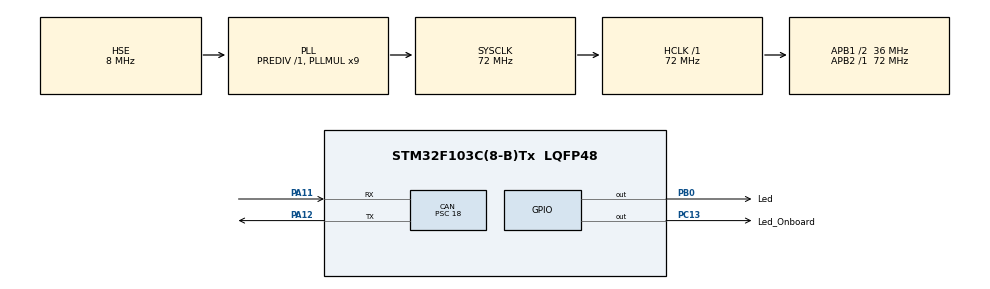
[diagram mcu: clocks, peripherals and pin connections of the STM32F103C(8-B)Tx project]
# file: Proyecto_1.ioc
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CAN.BS1=CAN_BS1_2TQ
CAN.CalculateBaudRate=500000
CAN.CalculateTimeBit=2000
CAN.CalculateTimeQuantum=500.0
CAN.Prescaler=18
Mcu.Family=STM32F1
Mcu.Name=STM32F103C(8-B)Tx
Mcu.Package=LQFP48
NVIC.PriorityGroup=NVIC_PRIORITYGROUP_4
NVIC.TIM2_IRQn=true\:0\:0\:false\:false\:true\:true\:true\:true
NVIC.USB_LP_CAN1_RX0_IRQn=true\:0\:0\:false\:false\:true\:true\:true\:true
PA11.Mode=CAN_Activate
PA11.Signal=CAN_RX
PA12.Mode=CAN_Activate
PA12.Signal=CAN_TX
PA13.Mode=Serial_Wire
PA13.Signal=SYS_JTMS-SWDIO
PA14.Mode=Serial_Wire
PA14.Signal=SYS_JTCK-SWCLK
PB0.GPIO_Label=Led
PB0.Signal=GPIO_Output
PC13-TAMPER-RTC.GPIO_Label=Led_Onboard
PC13-TAMPER-RTC.PinState=GPIO_PIN_SET
PC13-TAMPER-RTC.Signal=GPIO_Output
PD0-OSC_IN.Mode=HSE-External-Oscillator
PD0-OSC_IN.Signal=RCC_OSC_IN
PD1-OSC_OUT.Mode=HSE-External-Oscillator
PD1-OSC_OUT.Signal=RCC_OSC_OUT
ProjectManager.HeapSize=0x200
ProjectManager.StackSize=0x400
ProjectManager.TargetToolchain=STM32CubeIDE
RCC.AHBFreq_Value=72000000
RCC.APB1CLKDivider=RCC_HCLK_DIV2
RCC.APB1Freq_Value=36000000
RCC.APB1TimFreq_Value=72000000
RCC.APB2Freq_Value=72000000
RCC.APB2TimFreq_Value=72000000
RCC.HCLKFreq_Value=72000000
RCC.PLLMUL=RCC_PLL_MUL9
RCC.PLLSourceVirtual=RCC_PLLSOURCE_HSE
RCC.SYSCLKFreq_VALUE=72000000
RCC.SYSCLKSource=RCC_SYSCLKSOURCE_PLLCLK
RCC.USBFreq_Value=72000000
TIM2.Period=999
TIM2.Prescaler=7999
VP_TIM2_VS_ClockSourceINT.Mode=Internal
board=custom

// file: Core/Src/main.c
/* USER CODE BEGIN Header */
/**
  ******************************************************************************
  * @file           : main.c
  * @brief          : Main program body
  ******************************************************************************
  * @attention
  *
  * Copyright (c) 2023 STMicroelectronics.
  * All rights reserved.
  *
  * This software is licensed under terms that can be found in the LICENSE file
  * in the root directory of this software component.
  * If no LICENSE file comes with this software, it is provided AS-IS.
  *
  ******************************************************************************
  */
/* USER CODE END Header */
#include "main.h"
#include "can.h"
#include "tim.h"
#include "gpio.h"

/* USER CODE BEGIN PTD */
CAN_RxHeaderTypeDef rxHeader;
CAN_TxHeaderTypeDef txHeader;

/* USER CODE END PTD */

/* USER CODE BEGIN PD */
#define id_tx 0x10 //MAEXTRO
#define id_rx 0x123 //ESCLAVO
/* USER CODE END PD */

/* USER CODE BEGIN PV */
uint8_t CanTxBuffer[8];
uint8_t CanRxBuffer[8];
uint32_t CanMailBox;
uint8_t flag_rx = 0, flag_tx = 0;
uint8_t counterTime = 5;
uint8_t count = 0;
uint8_t nice = 0;

/* USER CODE END PV */

void SystemClock_Config(void);
/* USER CODE BEGIN PFP */
void SystemClock_Config(void);
void CAN_Filter_Config(void);
void HAL_CAN_RxFifo0MsgPendingCallback(CAN_HandleTypeDef *hcan);
/* USER CODE END PFP */

int main(void)
{

  /* MCU Configuration--------------------------------------------------------*/

  /* Reset of all peripherals, Initializes the Flash interface and the Systick. */
  HAL_Init();

  /* Configure the system clock */
  SystemClock_Config();

  /* Initialize all configured peripherals */
  MX_GPIO_Init();
  MX_CAN_Init();
  MX_TIM2_Init();
  /* USER CODE BEGIN 2 */
	CAN_Filter_Config();
	HAL_CAN_Start(&hcan);
	HAL_CAN_ActivateNotification(&hcan, CAN_IT_RX_FIFO0_MSG_PENDING);
  HAL_TIM_Base_Start_IT(&htim2);

	txHeader.DLC = 2;
    txHeader.IDE = CAN_ID_STD;
    txHeader.RTR = CAN_RTR_DATA;
    txHeader.StdId = id_tx;

    CanTxBuffer[0] = 5;
    CanTxBuffer[1] = 200;
    //HAL_CAN_AddTxMessage(&hcan, &txHeader, CanTxBuffer, &CanMailBox);
    //HAL_CAN_IsTxMessagePending(&hcan, CanMailBox);
  /* USER CODE END 2 */

  /* Infinite loop */
  while (1)
  {

    /* USER CODE BEGIN 3 */
	  if(flag_rx == 1){
		  counterTime = CanRxBuffer[0];
		  nice = CanRxBuffer[1];
		  flag_rx = 0;
		  flag_tx = 1;
	  }
	  if(count == 0){
		  count = counterTime;
		  HAL_GPIO_TogglePin(Led_GPIO_Port, Led_Pin);
		  HAL_GPIO_TogglePin(Led_Onboard_GPIO_Port, Led_Onboard_Pin);
	  }
	  if(nice){
		  txHeader.DLC = 2;
		  txHeader.IDE = CAN_ID_STD;
		  txHeader.RTR = CAN_RTR_DATA;
		  txHeader.StdId = id_tx;

		  CanTxBuffer[0] = counterTime+1;
		  CanTxBuffer[1] = 200;
		  HAL_CAN_AddTxMessage(&hcan, &txHeader, CanTxBuffer, &CanMailBox);
		  HAL_CAN_IsTxMessagePending(&hcan, CanMailBox);
		  flag_tx = 0;
		  //counterTime = 1;
	  }
  }
  /* USER CODE END 3 */
}

void SystemClock_Config(void)
{
  RCC_OscInitTypeDef RCC_OscInitStruct = {0};
  RCC_ClkInitTypeDef RCC_ClkInitStruct = {0};

  /** Initializes the RCC Oscillators according to the specified parameters
  * in the RCC_OscInitTypeDef structure.
  */
  RCC_OscInitStruct.OscillatorType = RCC_OSCILLATORTYPE_HSE;
  RCC_OscInitStruct.HSEState = RCC_HSE_ON;
  RCC_OscInitStruct.HSEPredivValue = RCC_HSE_PREDIV_DIV1;
  RCC_OscInitStruct.HSIState = RCC_HSI_ON;
  RCC_OscInitStruct.PLL.PLLState = RCC_PLL_ON;
  RCC_OscInitStruct.PLL.PLLSource = RCC_PLLSOURCE_HSE;
  RCC_OscInitStruct.PLL.PLLMUL = RCC_PLL_MUL9;
  if (HAL_RCC_OscConfig(&RCC_OscInitStruct) != HAL_OK)
  {
    Error_Handler();
  }

  /** Initializes the CPU, AHB and APB buses clocks
  */
  RCC_ClkInitStruct.ClockType = RCC_CLOCKTYPE_HCLK|RCC_CLOCKTYPE_SYSCLK
                              |RCC_CLOCKTYPE_PCLK1|RCC_CLOCKTYPE_PCLK2;
  RCC_ClkInitStruct.SYSCLKSource = RCC_SYSCLKSOURCE_PLLCLK;
  RCC_ClkInitStruct.AHBCLKDivider = RCC_SYSCLK_DIV1;
  RCC_ClkInitStruct.APB1CLKDivider = RCC_HCLK_DIV2;
  RCC_ClkInitStruct.APB2CLKDivider = RCC_HCLK_DIV1;

  if (HAL_RCC_ClockConfig(&RCC_ClkInitStruct, FLASH_LATENCY_2) != HAL_OK)
  {
    Error_Handler();
  }
}

/* USER CODE BEGIN 4 */

void HAL_TIM_PeriodElapsedCallback(TIM_HandleTypeDef *htim){
	if(count){
		count--;
	}
}

void HAL_CAN_RxFifo0MsgPendingCallback(CAN_HandleTypeDef *hcan)
{
	HAL_CAN_GetRxMessage(hcan, CAN_RX_FIFO0, &rxHeader, CanRxBuffer);
	if(rxHeader.DLC == 2)
	{
		flag_rx = 1;
	}
}

void CAN_Filter_Config(void)
{
	CAN_FilterTypeDef canfilter;

	canfilter.FilterActivation = CAN_FILTER_ENABLE;
	canfilter.FilterBank = 10;
	canfilter.FilterFIFOAssignment = CAN_FILTER_FIFO0;
	canfilter.FilterIdHigh = (id_rx << 5);
	canfilter.FilterIdLow = 0x0000;
	canfilter.FilterMaskIdHigh = (id_rx << 5);
	canfilter.FilterMaskIdLow = 0x0000;
	canfilter.FilterMode = CAN_FILTERMODE_IDMASK;
	canfilter.FilterScale = CAN_FILTERSCALE_32BIT;
	canfilter.SlaveStartFilterBank = 0;

	HAL_CAN_ConfigFilter(&hcan, &canfilter);
}

/* USER CODE END 4 */

void Error_Handler(void)
{
  __disable_irq();
  while (1)
  {
  }
}
